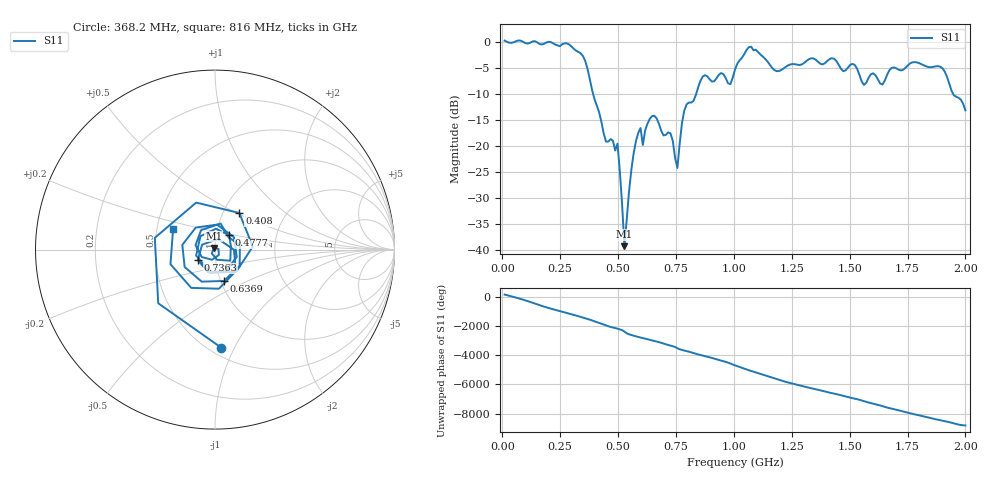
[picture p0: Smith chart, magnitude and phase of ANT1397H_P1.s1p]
!Created with skrf (http://scikit-rf.org).
# Hz S RI R 50.0
!freq ReS11 ImS11
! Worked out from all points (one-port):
!   201 points, 10 MHz to 2 GHz, reference 50 ohm
!   lowest |S11| = -39.2 dB at 527.4 MHz (marker M1), VSWR 1.02, Z = 49.3 + j0.854 ohm
!   |S11| at or under -10 dB: 392.1 MHz to 837.5 MHz (445.3 MHz wide, 72.4 % of centre); 1.947 GHz to end of sweep
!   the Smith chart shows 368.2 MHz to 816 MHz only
!   S11 on the Smith chart (normalised r, x): 368.2 MHz: 0.57, -0.89; 408 MHz: 1.19, +0.52; 477.6 MHz: 1.16, +0.19; 636.9 MHz: 1.04, -0.37; 736.4 MHz: 0.82, -0.10; 816 MHz: 0.61, +0.15
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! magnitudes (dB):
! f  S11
! 10 MHz  0.2
! 258.8 MHz  -0.5
! 368.2 MHz  -5.2
! 408 MHz  -12.2
! 447.8 MHz  -19.1
! 477.6 MHz  -19.0
! 497.6 MHz  -19.6
! 507.5 MHz  -24.8
! 527.4 MHz  -39.2
! 577.1 MHz  -19.1
! 597 MHz  -16.6
! 607 MHz  -19.8
! 636.9 MHz  -14.8
! 736.4 MHz  -19.0
! 756.2 MHz  -24.2
! 786.1 MHz  -13.2
! 816 MHz  -11.7
! 865.7 MHz  -6.7
! 985.1 MHz  -8.1
! 1.005 GHz  -5.4
! 1.075 GHz  -1.0
! 1.184 GHz  -5.6
! 1.254 GHz  -4.3
! 1.502 GHz  -4.5
! 1.562 GHz  -8.3
! 1.751 GHz  -4.6
! 1.901 GHz  -5.1
! 2 GHz  -13.2
